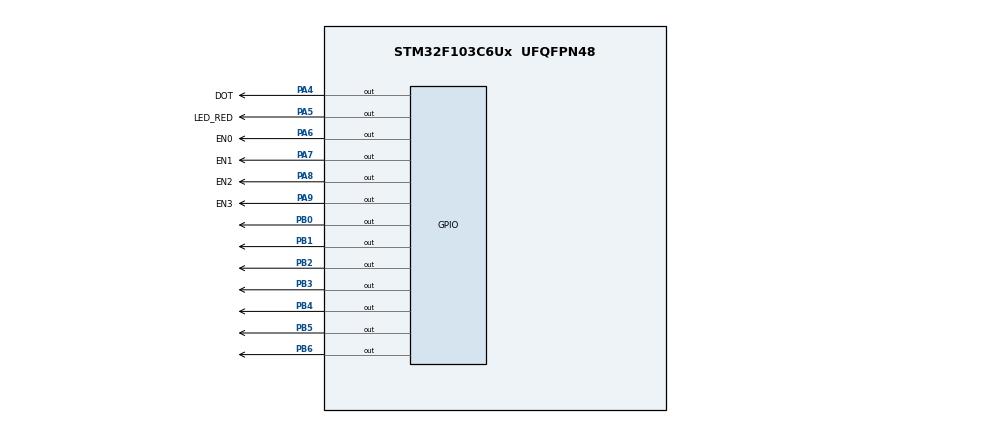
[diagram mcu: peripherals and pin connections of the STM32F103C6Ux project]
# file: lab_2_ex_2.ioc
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Mcu.Family=STM32F1
Mcu.Name=STM32F103C6Ux
Mcu.Package=UFQFPN48
NVIC.PriorityGroup=NVIC_PRIORITYGROUP_4
NVIC.TIM2_IRQn=true\:0\:0\:false\:false\:true\:true\:true\:true
PA4.GPIO_Label=DOT
PA4.Signal=GPIO_Output
PA5.GPIO_Label=LED_RED
PA5.Signal=GPIO_Output
PA6.GPIO_Label=EN0
PA6.Signal=GPIO_Output
PA7.GPIO_Label=EN1
PA7.Signal=GPIO_Output
PA8.GPIO_Label=EN2
PA8.Signal=GPIO_Output
PA9.GPIO_Label=EN3
PA9.Signal=GPIO_Output
PB0.Signal=GPIO_Output
PB1.Signal=GPIO_Output
PB2.Signal=GPIO_Output
PB3.Signal=GPIO_Output
PB4.Signal=GPIO_Output
PB5.Signal=GPIO_Output
PB6.Signal=GPIO_Output
ProjectManager.HeapSize=0x200
ProjectManager.StackSize=0x400
ProjectManager.TargetToolchain=STM32CubeIDE
RCC.APB1Freq_Value=8000000
RCC.APB2Freq_Value=8000000
TIM2.Period=9
TIM2.Prescaler=7999
VP_TIM2_VS_ClockSourceINT.Mode=Internal
board=custom

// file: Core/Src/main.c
/* USER CODE BEGIN Header */
/**
  ******************************************************************************
  * @file           : main.c
  * @brief          : Main program body
  ******************************************************************************
  * @attention
  *
  * Copyright (c) 2024 STMicroelectronics.
  * All rights reserved.
  *
  * This software is licensed under terms that can be found in the LICENSE file
  * in the root directory of this software component.
  * If no LICENSE file comes with this software, it is provided AS-IS.
  *
  ******************************************************************************
  */
/* USER CODE END Header */
#include "main.h"

TIM_HandleTypeDef htim2;

void SystemClock_Config(void);
static void MX_GPIO_Init(void);
static void MX_TIM2_Init(void);
/* USER CODE BEGIN PFP */
void display7SEG(int num);
/* USER CODE END PFP */

int main(void)
{

  /* MCU Configuration--------------------------------------------------------*/

  /* Reset of all peripherals, Initializes the Flash interface and the Systick. */
  HAL_Init();

  /* Configure the system clock */
  SystemClock_Config();

  /* Initialize all configured peripherals */
  MX_GPIO_Init();
  MX_TIM2_Init();
  /* USER CODE BEGIN 2 */
  HAL_TIM_Base_Start_IT(&htim2);
  /* USER CODE END 2 */

  /* Infinite loop */
  while (1)
  {

  }
}

void SystemClock_Config(void)
{
  RCC_OscInitTypeDef RCC_OscInitStruct = {0};
  RCC_ClkInitTypeDef RCC_ClkInitStruct = {0};

  /** Initializes the RCC Oscillators according to the specified parameters
  * in the RCC_OscInitTypeDef structure.
  */
  RCC_OscInitStruct.OscillatorType = RCC_OSCILLATORTYPE_HSI;
  RCC_OscInitStruct.HSIState = RCC_HSI_ON;
  RCC_OscInitStruct.HSICalibrationValue = RCC_HSICALIBRATION_DEFAULT;
  RCC_OscInitStruct.PLL.PLLState = RCC_PLL_NONE;
  if (HAL_RCC_OscConfig(&RCC_OscInitStruct) != HAL_OK)
  {
    Error_Handler();
  }

  /** Initializes the CPU, AHB and APB buses clocks
  */
  RCC_ClkInitStruct.ClockType = RCC_CLOCKTYPE_HCLK|RCC_CLOCKTYPE_SYSCLK
                              |RCC_CLOCKTYPE_PCLK1|RCC_CLOCKTYPE_PCLK2;
  RCC_ClkInitStruct.SYSCLKSource = RCC_SYSCLKSOURCE_HSI;
  RCC_ClkInitStruct.AHBCLKDivider = RCC_SYSCLK_DIV1;
  RCC_ClkInitStruct.APB1CLKDivider = RCC_HCLK_DIV1;
  RCC_ClkInitStruct.APB2CLKDivider = RCC_HCLK_DIV1;

  if (HAL_RCC_ClockConfig(&RCC_ClkInitStruct, FLASH_LATENCY_0) != HAL_OK)
  {
    Error_Handler();
  }
}

static void MX_TIM2_Init(void)
{

  TIM_ClockConfigTypeDef sClockSourceConfig = {0};
  TIM_MasterConfigTypeDef sMasterConfig = {0};

  htim2.Instance = TIM2;
  htim2.Init.Prescaler = 7999;
  htim2.Init.CounterMode = TIM_COUNTERMODE_UP;
  htim2.Init.Period = 9;
  htim2.Init.ClockDivision = TIM_CLOCKDIVISION_DIV1;
  htim2.Init.AutoReloadPreload = TIM_AUTORELOAD_PRELOAD_DISABLE;
  if (HAL_TIM_Base_Init(&htim2) != HAL_OK)
  {
    Error_Handler();
  }
  sClockSourceConfig.ClockSource = TIM_CLOCKSOURCE_INTERNAL;
  if (HAL_TIM_ConfigClockSource(&htim2, &sClockSourceConfig) != HAL_OK)
  {
    Error_Handler();
  }
  sMasterConfig.MasterOutputTrigger = TIM_TRGO_RESET;
  sMasterConfig.MasterSlaveMode = TIM_MASTERSLAVEMODE_DISABLE;
  if (HAL_TIMEx_MasterConfigSynchronization(&htim2, &sMasterConfig) != HAL_OK)
  {
    Error_Handler();
  }

}

static void MX_GPIO_Init(void)
{
  GPIO_InitTypeDef GPIO_InitStruct = {0};

  /* GPIO Ports Clock Enable */
  __HAL_RCC_GPIOA_CLK_ENABLE();
  __HAL_RCC_GPIOB_CLK_ENABLE();

  /*Configure GPIO pin Output Level */
  HAL_GPIO_WritePin(GPIOA, DOT_Pin|LED_RED_Pin|EN0_Pin|EN1_Pin
                          |EN2_Pin|EN3_Pin, GPIO_PIN_RESET);

  /*Configure GPIO pin Output Level */
  HAL_GPIO_WritePin(GPIOB, GPIO_PIN_0|GPIO_PIN_1|GPIO_PIN_2|GPIO_PIN_3
                          |GPIO_PIN_4|GPIO_PIN_5|GPIO_PIN_6, GPIO_PIN_RESET);

  /*Configure GPIO pins : DOT_Pin LED_RED_Pin EN0_Pin EN1_Pin
                           EN2_Pin EN3_Pin */
  GPIO_InitStruct.Pin = DOT_Pin|LED_RED_Pin|EN0_Pin|EN1_Pin
                          |EN2_Pin|EN3_Pin;
  GPIO_InitStruct.Mode = GPIO_MODE_OUTPUT_PP;
  GPIO_InitStruct.Pull = GPIO_NOPULL;
  GPIO_InitStruct.Speed = GPIO_SPEED_FREQ_LOW;
  HAL_GPIO_Init(GPIOA, &GPIO_InitStruct);

  /*Configure GPIO pins : PB0 PB1 PB2 PB3
                           PB4 PB5 PB6 */
  GPIO_InitStruct.Pin = GPIO_PIN_0|GPIO_PIN_1|GPIO_PIN_2|GPIO_PIN_3
                          |GPIO_PIN_4|GPIO_PIN_5|GPIO_PIN_6;
  GPIO_InitStruct.Mode = GPIO_MODE_OUTPUT_PP;
  GPIO_InitStruct.Pull = GPIO_NOPULL;
  GPIO_InitStruct.Speed = GPIO_SPEED_FREQ_LOW;
  HAL_GPIO_Init(GPIOB, &GPIO_InitStruct);

}

/* USER CODE BEGIN 4 */

int seven_segment_counter =0;
int seven_segment_EN_state = 0;
int LED_counter = 0;

void HAL_TIM_PeriodElapsedCallback(TIM_HandleTypeDef *htim) {
    // Seven-segment switching every 500 ms
    seven_segment_counter--;
    if (seven_segment_counter <= 0) {
        seven_segment_counter = 50;  // Reset to 500 ms for half-second switching

        // Cycle through each of the four segments to display "1", "2", "3", "0"
        switch (seven_segment_EN_state) {
            case 0:
                HAL_GPIO_WritePin(EN0_GPIO_Port, EN0_Pin, RESET); // First segment active
                HAL_GPIO_WritePin(EN1_GPIO_Port, EN1_Pin, SET);
                HAL_GPIO_WritePin(EN2_GPIO_Port, EN2_Pin, SET);
                HAL_GPIO_WritePin(EN3_GPIO_Port, EN3_Pin, SET);
                display7SEG(1);  // Display '1' on first segment
                seven_segment_EN_state = 1;
                break;
            case 1:
                HAL_GPIO_WritePin(EN0_GPIO_Port, EN0_Pin, SET);
                HAL_GPIO_WritePin(EN1_GPIO_Port, EN1_Pin, RESET); // Second segment active
                HAL_GPIO_WritePin(EN2_GPIO_Port, EN2_Pin, SET);
                HAL_GPIO_WritePin(EN3_GPIO_Port, EN3_Pin, SET);
                display7SEG(2);  // Display '2' on second segment
                seven_segment_EN_state = 2;
                break;
            case 2:
                HAL_GPIO_WritePin(EN0_GPIO_Port, EN0_Pin, SET);
                HAL_GPIO_WritePin(EN1_GPIO_Port, EN1_Pin, SET);
                HAL_GPIO_WritePin(EN2_GPIO_Port, EN2_Pin, RESET); // Third segment active
                HAL_GPIO_WritePin(EN3_GPIO_Port, EN3_Pin, SET);
                display7SEG(3);  // Display '3' on third segment
                seven_segment_EN_state = 3;
                break;
            case 3:
                HAL_GPIO_WritePin(EN0_GPIO_Port, EN0_Pin, SET);
                HAL_GPIO_WritePin(EN1_GPIO_Port, EN1_Pin, SET);
                HAL_GPIO_WritePin(EN2_GPIO_Port, EN2_Pin, SET);
                HAL_GPIO_WritePin(EN3_GPIO_Port, EN3_Pin, RESET); // Fourth segment active
                display7SEG(0);  // Display '0' on fourth segment
                seven_segment_EN_state = 0;
                break;
        }
    }

    // LED blinking every 1000 ms
    LED_counter--;
    if (LED_counter <= 0) {
        LED_counter = 100;  // Reset to 1000 ms for 1-second blinking
        HAL_GPIO_TogglePin(DOT_GPIO_Port, DOT_Pin);  // Toggle the DOT LED
        HAL_GPIO_TogglePin(LED_RED_GPIO_Port, LED_RED_Pin);  // Toggle the red LED
    }
}

void display7SEG(int num)
{
	HAL_GPIO_WritePin(GPIOB, GPIO_PIN_All, SET);

	switch(num){
	case 0:
		HAL_GPIO_WritePin(GPIOB, GPIO_PIN_0, RESET);
		HAL_GPIO_WritePin(GPIOB, GPIO_PIN_1, RESET);
		HAL_GPIO_WritePin(GPIOB, GPIO_PIN_2, RESET);
		HAL_GPIO_WritePin(GPIOB, GPIO_PIN_3, RESET);
		HAL_GPIO_WritePin(GPIOB, GPIO_PIN_4, RESET);
		HAL_GPIO_WritePin(GPIOB, GPIO_PIN_5, RESET);
		break;
	case 1:
		HAL_GPIO_WritePin(GPIOB, GPIO_PIN_1, RESET);
		HAL_GPIO_WritePin(GPIOB, GPIO_PIN_2, RESET);
		break;
	case 2:
		HAL_GPIO_WritePin(GPIOB, GPIO_PIN_0, RESET);
		HAL_GPIO_WritePin(GPIOB, GPIO_PIN_1, RESET);
		HAL_GPIO_WritePin(GPIOB, GPIO_PIN_3, RESET);
		HAL_GPIO_WritePin(GPIOB, GPIO_PIN_4, RESET);
		HAL_GPIO_WritePin(GPIOB, GPIO_PIN_6, RESET);
		break;
	case 3:
		HAL_GPIO_WritePin(GPIOB, GPIO_PIN_0, RESET);
		HAL_GPIO_WritePin(GPIOB, GPIO_PIN_1, RESET);
		HAL_GPIO_WritePin(GPIOB, GPIO_PIN_2, RESET);
		HAL_GPIO_WritePin(GPIOB, GPIO_PIN_3, RESET);
		HAL_GPIO_WritePin(GPIOB, GPIO_PIN_6, RESET);
		break;
	case 4:
		HAL_GPIO_WritePin(GPIOB, GPIO_PIN_1, RESET);
		HAL_GPIO_WritePin(GPIOB, GPIO_PIN_2, RESET);
		HAL_GPIO_WritePin(GPIOB, GPIO_PIN_5, RESET);
		HAL_GPIO_WritePin(GPIOB, GPIO_PIN_6, RESET);
		break;
	case 5:
		HAL_GPIO_WritePin(GPIOB, GPIO_PIN_0, RESET);
		HAL_GPIO_WritePin(GPIOB, GPIO_PIN_2, RESET);
		HAL_GPIO_WritePin(GPIOB, GPIO_PIN_3, RESET);
		HAL_GPIO_WritePin(GPIOB, GPIO_PIN_5, RESET);
		HAL_GPIO_WritePin(GPIOB, GPIO_PIN_6, RESET);
		break;
	case 6:
		HAL_GPIO_WritePin(GPIOB, GPIO_PIN_0, RESET);
		HAL_GPIO_WritePin(GPIOB, GPIO_PIN_2, RESET);
		HAL_GPIO_WritePin(GPIOB, GPIO_PIN_3, RESET);
		HAL_GPIO_WritePin(GPIOB, GPIO_PIN_4, RESET);
		HAL_GPIO_WritePin(GPIOB, GPIO_PIN_5, RESET);
		HAL_GPIO_WritePin(GPIOB, GPIO_PIN_6, RESET);
		break;
	case 7:
		HAL_GPIO_WritePin(GPIOB, GPIO_PIN_0, RESET);
		HAL_GPIO_WritePin(GPIOB, GPIO_PIN_1, RESET);
		HAL_GPIO_WritePin(GPIOB, GPIO_PIN_2, RESET);
		break;
	case 8:
		HAL_GPIO_WritePin(GPIOB, GPIO_PIN_0, RESET);
		HAL_GPIO_WritePin(GPIOB, GPIO_PIN_1, RESET);
		HAL_GPIO_WritePin(GPIOB, GPIO_PIN_2, RESET);
		HAL_GPIO_WritePin(GPIOB, GPIO_PIN_3, RESET);
		HAL_GPIO_WritePin(GPIOB, GPIO_PIN_4, RESET);
		HAL_GPIO_WritePin(GPIOB, GPIO_PIN_5, RESET);
		HAL_GPIO_WritePin(GPIOB, GPIO_PIN_6, RESET);
		break;
	case 9:
		HAL_GPIO_WritePin(GPIOB, GPIO_PIN_0, RESET);
		HAL_GPIO_WritePin(GPIOB, GPIO_PIN_1, RESET);
		HAL_GPIO_WritePin(GPIOB, GPIO_PIN_2, RESET);
		HAL_GPIO_WritePin(GPIOB, GPIO_PIN_3, RESET);
		HAL_GPIO_WritePin(GPIOB, GPIO_PIN_5, RESET);
		HAL_GPIO_WritePin(GPIOB, GPIO_PIN_6, RESET);
		break;
	}
}
/* USER CODE END 4 */

void Error_Handler(void)
{
  __disable_irq();
  while (1)
  {
  }
}
